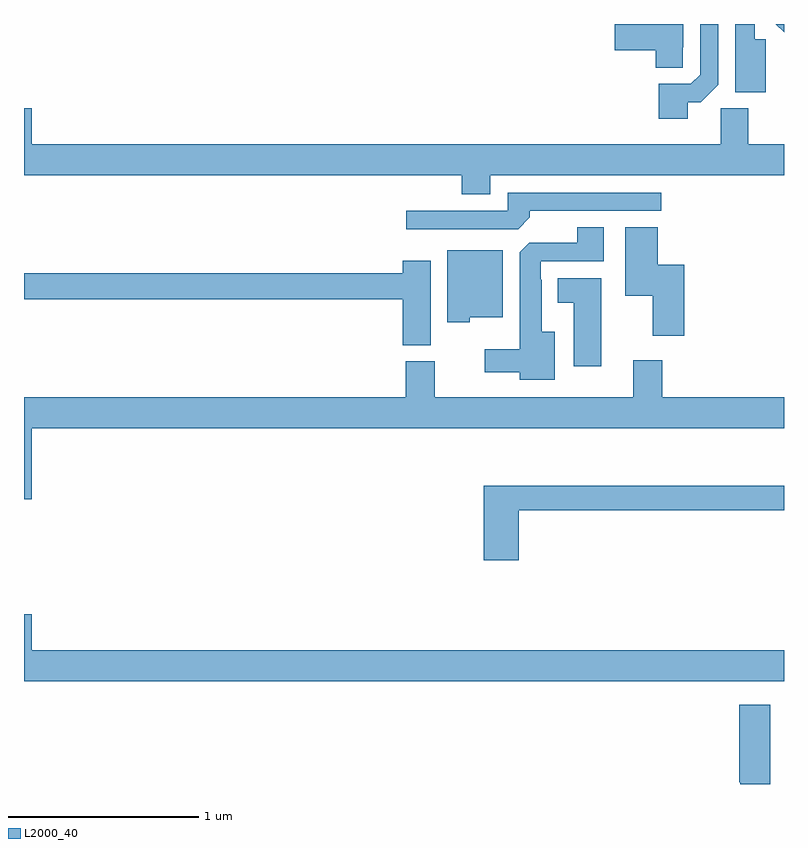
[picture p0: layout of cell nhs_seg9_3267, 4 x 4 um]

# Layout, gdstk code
import gdstk
lib = gdstk.Library(unit=1e-6, precision=1e-09)
def P(c, l, *ps):  # polygons
    for p in ps: c.add(gdstk.Polygon(p, *l))
L2000_40 = (2000, 40)

nhs_seg9_3267 = lib.new_cell('nhs_seg9_3267')
P(nhs_seg9_3267, L2000_40, [(300.904,1246.419),(300.847,1246.419),(300.847,1246.5),(300.743,1246.5),(300.743,1246.141),(300.904,1246.141)],
  [(300.468,1246.378),(300.469,1246.378),(300.469,1246.5),(300.108,1246.5),(300.108,1246.361),(300.326,1246.361),(300.326,1246.27),(300.468,1246.27)],
  [(300.493,1246.087),(300.561,1246.087),(300.654,1246.179),(300.654,1246.5),(300.558,1246.5),(300.558,1246.233),(300.51,1246.185),(300.341,1246.185),(300.341,1246.002),(300.493,1246.002)],
  [(301,1246.5),(300.956,1246.5),(301,1246.456)],
  [(299.455,1245.704),(301,1245.704),(301,1245.868),(300.813,1245.868),(300.813,1246.056),(300.666,1246.056),(300.666,1245.868),(297.04,1245.868),(297.04,1246.057),(297,1246.057),(297,1245.704),(299.303,1245.704),(299.303,1245.605),(299.455,1245.605)],
  [(299.663,1245.482),(299.663,1245.516),(300.355,1245.516),(300.355,1245.612),(299.547,1245.612),(299.547,1245.516),(299.013,1245.516),(299.013,1245.42),(299.601,1245.42)],
  [(299.794,1244.881),(299.725,1244.881),(299.725,1245.155),(299.721,1245.155),(299.721,1245.252),(300.052,1245.252),(300.052,1245.431),(299.912,1245.431),(299.912,1245.348),(299.658,1245.348),(299.609,1245.299),(299.609,1244.788),(299.424,1244.788),(299.424,1244.666),(299.609,1244.666),(299.609,1244.627),(299.794,1244.627)],
  [(300.476,1245.232),(300.335,1245.232),(300.335,1245.43),(300.164,1245.43),(300.164,1245.07),(300.308,1245.07),(300.308,1244.859),(300.476,1244.859)],
  [(299.346,1244.957),(299.521,1244.957),(299.521,1245.31),(299.228,1245.31),(299.228,1244.93),(299.346,1244.93)],
  [(299.14,1245.253),(298.994,1245.253),(298.994,1245.188),(297,1245.188),(297,1245.052),(298.994,1245.052),(298.994,1244.809),(299.14,1244.809)],
  [(300.037,1245.163),(299.81,1245.163),(299.81,1245.032),(299.894,1245.032),(299.894,1244.7),(300.037,1244.7)],
  [(297.04,1244.372),(301,1244.372),(301,1244.536),(300.359,1244.536),(300.359,1244.731),(300.206,1244.731),(300.206,1244.536),(299.161,1244.536),(299.161,1244.724),(299.009,1244.724),(299.009,1244.536),(297,1244.536),(297,1243.998),(297.04,1243.998)],
  [(299.603,1243.942),(301,1243.942),(301,1244.071),(299.42,1244.071),(299.42,1243.677),(299.603,1243.677)],
  [(301,1243.204),(297.04,1243.204),(297.04,1243.393),(297,1243.393),(297,1243.04),(301,1243.04)],
  [(300.928,1242.916),(300.764,1242.916),(300.764,1242.51),(300.77,1242.51),(300.77,1242.5),(300.928,1242.5)])

lib.write_gds('nhs_seg9_3267.gds')
